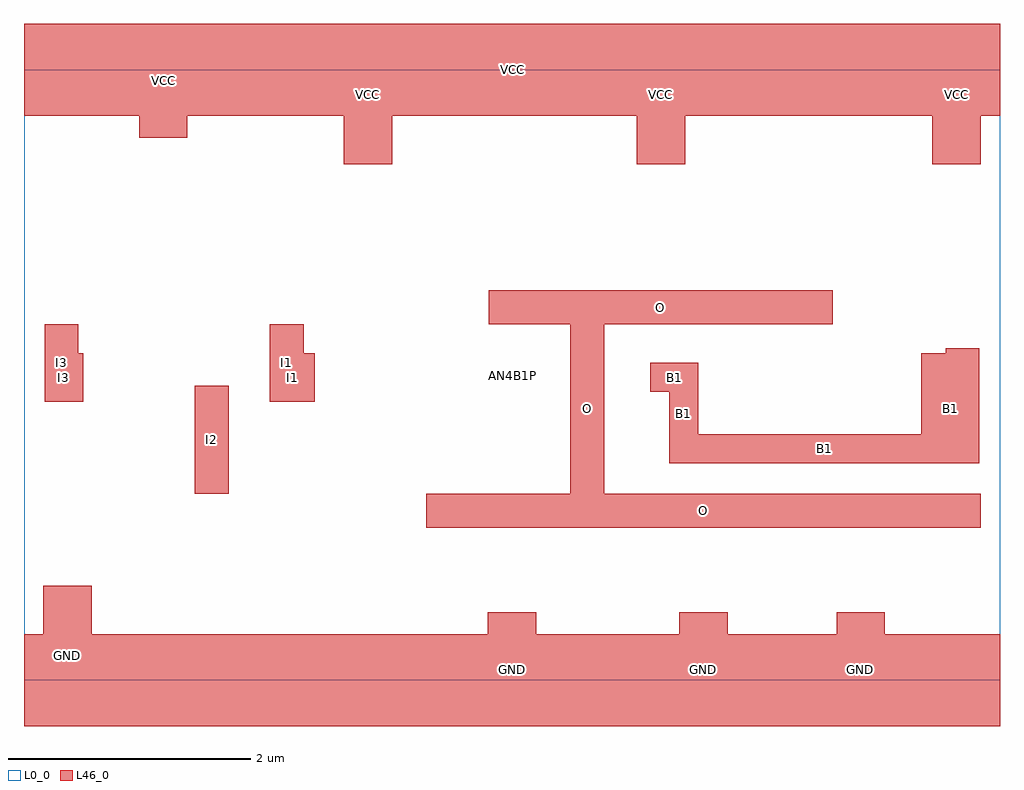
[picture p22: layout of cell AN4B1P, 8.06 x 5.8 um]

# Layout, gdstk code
import gdstk
lib = gdstk.Library(unit=1e-6, precision=1e-09)
def R(c, l, rs):  # rectangles x0, y0, x1, y1
    for r in rs: c.add(gdstk.rectangle(r[:2], r[2:], *l))
L0_0 = (0, 0)
L46_0 = (46, 0)

an4b1p = lib.new_cell('AN4B1P')
R(an4b1p, L0_0, [(0,0,8.06,5.04)])
R(an4b1p, L46_0, [(0,-0.38,8.06,0.38), (0.16,-0.38,0.56,0.78), (3.83,-0.38,4.23,0.56), (5.41,-0.38,5.81,0.56), (6.71,-0.38,7.11,0.56), (3.32,1.26,7.9,1.54), (4.51,1.26,4.79,3.22), (1.41,1.54,1.69,2.43), (5.33,1.79,7.89,2.03), (5.33,1.79,5.57,2.62), (7.41,1.79,7.89,2.7), (7.61,1.79,7.89,2.74), (0.17,2.3,0.45,2.94), (0.17,2.3,0.49,2.7), (2.03,2.3,2.4,2.7), (2.03,2.3,2.31,2.94), (5.17,2.38,5.57,2.62), (3.84,2.94,6.68,3.22), (2.64,4.26,3.04,5.42), (5.06,4.26,5.46,5.42), (7.5,4.26,7.9,5.42), (0.95,4.48,1.35,5.42), (0,4.66,8.06,5.42)])
an4b1p.add(gdstk.Label('AN4B1P', (4.03,2.52), layer=0, texttype=0))
an4b1p.add(gdstk.Label('O', (5.26,3.08), layer=101, texttype=0))
an4b1p.add(gdstk.Label('O', (5.61,1.4), layer=101, texttype=0))
an4b1p.add(gdstk.Label('O', (4.65,2.24), layer=101, texttype=0))
an4b1p.add(gdstk.Label('I2', (1.55,1.985), layer=101, texttype=0))
an4b1p.add(gdstk.Label('I1', (2.215,2.5), layer=101, texttype=0))
an4b1p.add(gdstk.Label('I1', (2.17,2.62), layer=101, texttype=0))
an4b1p.add(gdstk.Label('B1', (5.37,2.5), layer=101, texttype=0))
an4b1p.add(gdstk.Label('B1', (6.61,1.91), layer=101, texttype=0))
an4b1p.add(gdstk.Label('B1', (7.65,2.245), layer=101, texttype=0))
an4b1p.add(gdstk.Label('B1', (7.75,2.265), layer=101, texttype=0))
an4b1p.add(gdstk.Label('B1', (5.45,2.205), layer=101, texttype=0))
an4b1p.add(gdstk.Label('I3', (0.33,2.5), layer=101, texttype=0))
an4b1p.add(gdstk.Label('I3', (0.31,2.62), layer=101, texttype=0))
an4b1p.add(gdstk.Label('GND', (4.03,0.09), layer=101, texttype=0))
an4b1p.add(gdstk.Label('GND', (5.61,0.09), layer=101, texttype=0))
an4b1p.add(gdstk.Label('GND', (6.91,0.09), layer=101, texttype=0))
an4b1p.add(gdstk.Label('GND', (4.03,0), layer=101, texttype=0))
an4b1p.add(gdstk.Label('GND', (0.36,0.2), layer=101, texttype=0))
an4b1p.add(gdstk.Label('VCC', (2.84,4.84), layer=101, texttype=0))
an4b1p.add(gdstk.Label('VCC', (5.26,4.84), layer=101, texttype=0))
an4b1p.add(gdstk.Label('VCC', (7.7,4.84), layer=101, texttype=0))
an4b1p.add(gdstk.Label('VCC', (4.03,5.04), layer=101, texttype=0))
an4b1p.add(gdstk.Label('VCC', (1.15,4.95), layer=101, texttype=0))

lib.write_gds('AN4B1P.gds')
